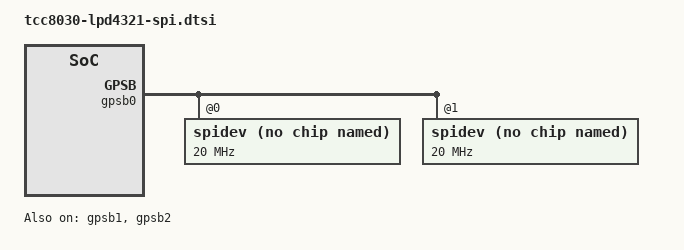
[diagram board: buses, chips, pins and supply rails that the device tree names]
// SPDX-License-Identifier: (GPL-2.0-or-later OR MIT)
/*
 * Copyright (C) 2023 Telechips Inc.
 */

#include <dt-bindings/gpio/gpio.h>

&gpsb0 {
	status = "okay";
	gpsb-port = <22>;
	pinctrl-names = "idle", "active", "cs";
	pinctrl-0 = <&gpsb22_bus_idle>;
	pinctrl-1 = <&gpsb22_bus_spi>;
	pinctrl-2 = <&gpsb22_spi_cs>;

	/* cs-gpios */
	cs-gpios = <&gpg 8 GPIO_ACTIVE_LOW>,
		<&gpa 30 GPIO_ACTIVE_LOW>;

	#address-cells = <1>;
	#size-cells = <0>;
	spidev@0 {
		compatible = "rohm,dh2228fv";
		reg = <0>;
		spi-max-frequency = <20000000>;
	};
	spidev@1 {
		compatible = "rohm,dh2228fv";
		reg = <1>;
		spi-max-frequency = <20000000>;
	};
};

&gpsb1 {
	status = "okay";
	gpsb-port = <15>;
	pinctrl-names = "idle", "active";
	pinctrl-0 = <&gpsb15_bus_idle>;
	pinctrl-1 = <&gpsb15_bus_tsif>;
};

&gpsb2 {
	status = "okay";
	gpsb-port = <16>;
	pinctrl-names = "idle", "active";
	pinctrl-0 = <&gpsb16_bus_idle>;
	pinctrl-1 = <&gpsb16_bus_tsif>;
};

&pinctrl {
	gpsb15_bus: gpsb15_bus {
		telechips,pins = "gpc-0", "gpc-1", "gpc-3", "gpc-2";
		telechips,pin-function = <6>;
	};

	gpsb15_bus_idle: gpsb15_bus_idle {
		telechips,pins = "gpc-0", "gpc-1", "gpc-3", "gpc-2";
		telechips,pin-function = <0>;
		telechips,output-low;
	};

	gpsb15_bus_spi: gpsb15_bus_spi {
		telechips,pins = "gpc-0", "gpc-1", "gpc-3", "gpc-2";
		telechips,pin-function = <6>;
	};

	gpsb15_bus_tsif: gpsb15_bus_tsif {
		telechips,pins = "gpc-0", "gpc-1", "gpc-3", "gpc-2";
		telechips,pin-function = <6>;
		telechips,input-enable;
	};

	gpsb16_bus: gpsb16_bus {
		telechips,pins = "gpc-4", "gpc-5", "gpc-7", "gpc-6";
		telechips,pin-function = <6>;
	};

	gpsb16_bus_idle: gpsb16_bus_idle {
		telechips,pins = "gpc-4", "gpc-5", "gpc-7", "gpc-6";
		telechips,pin-function = <0>;
		telechips,output-low;
	};

	gpsb16_bus_spi: gpsb16_bus_spi {
		telechips,pins = "gpc-4", "gpc-5", "gpc-7", "gpc-6";
		telechips,pin-function = <6>;
	};

	gpsb16_bus_tsif: gpsb16_bus_tsif {
		telechips,pins = "gpc-4", "gpc-5", "gpc-7", "gpc-6";
		telechips,pin-function = <6>;
		telechips,input-enable;
	};

	gpsb22_bus: gpsb22_bus {
		telechips,pins = "gpg-7", "gpg-8", "gpg-10", "gpg-9";
		telechips,pin-function = <6>;
	};

	gpsb22_bus_idle: gpsb22_bus_idle {
		telechips,pins = "gpg-7", "gpg-8", "gpg-10", "gpg-9";
		telechips,pin-function = <0>;
		telechips,output-low;
	};

	gpsb22_bus_spi: gpsb22_bus_spi {
		telechips,pins = "gpg-7", "gpg-8", "gpg-10", "gpg-9";
		telechips,pin-function = <6>;
	};

	gpsb22_spi_cs: gpsb22_spi_cs {
		telechips,pins = "gpg-8", "gpa-30";
		telechips,pin-function = <0>;
		telechips,input_buffer_enable;
		telechips,output-high;
	};
};
